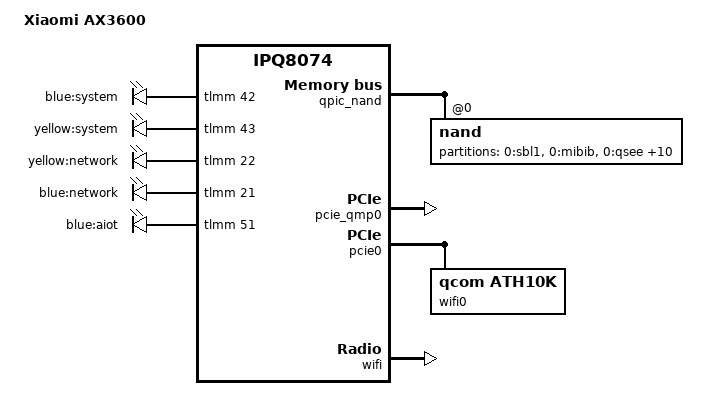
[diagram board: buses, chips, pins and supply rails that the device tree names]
// SPDX-License-Identifier: GPL-2.0-or-later OR MIT
/* Copyright (c) 2021, Robert Marko <robimarko@gmail.com> */

/dts-v1/;

#include "ipq8071-ax3600.dtsi"

/ {
	model = "Xiaomi AX3600";
	compatible = "xiaomi,ax3600", "qcom,ipq8074";

	chosen {
		bootargs-append = " root=/dev/ubiblock0_0";
	};

	leds {
		compatible = "gpio-leds";

		led_system_blue: system-blue {
			label = "blue:system";
			gpios = <&tlmm 42 GPIO_ACTIVE_HIGH>;
		};

		led_system_yellow: system-yellow {
			label = "yellow:system";
			gpios = <&tlmm 43 GPIO_ACTIVE_HIGH>;
		};

		network-yellow {
			label = "yellow:network";
			gpios = <&tlmm 22 GPIO_ACTIVE_HIGH>;
		};

		network-blue {
			label = "blue:network";
			gpios = <&tlmm 21 GPIO_ACTIVE_HIGH>;
		};

		aiot {
			label = "blue:aiot";
			gpios = <&tlmm 51 GPIO_ACTIVE_HIGH>;
			linux,default-trigger = "phy0tpt";
		};
	};
};

&qpic_nand {
	status = "okay";

	/*
	 * Bootloader will find the NAND DT node by the compatible and
	 * then "fixup" it by adding the partitions from the SMEM table
	 * using the legacy bindings thus making it impossible for us
	 * to change the partition table or utilize NVMEM for calibration.
	 * So add a dummy partitions node that bootloader will populate
	 * and set it as disabled so the kernel ignores it instead of
	 * printing warnings due to the broken way bootloader adds the
	 * partitions.
	 */
	partitions {
		status = "disabled";
	};

	nand@0 {
		reg = <0>;
		nand-ecc-strength = <4>;
		nand-ecc-step-size = <512>;
		nand-bus-width = <8>;

		partitions {
			compatible = "fixed-partitions";
			#address-cells = <1>;
			#size-cells = <1>;

			partition@0 {
				label = "0:sbl1";
				reg = <0x0 0x100000>;
				read-only;
			};

			partition@100000 {
				label = "0:mibib";
				reg = <0x100000 0x100000>;
				read-only;
			};

			partition@200000 {
				label = "0:qsee";
				reg = <0x200000 0x300000>;
				read-only;
			};

			partition@500000 {
				label = "0:devcfg";
				reg = <0x500000 0x80000>;
				read-only;
			};

			partition@580000 {
				label = "0:rpm";
				reg = <0x580000 0x80000>;
				read-only;
			};

			partition@600000 {
				label = "0:cdt";
				reg = <0x600000 0x80000>;
				read-only;
			};

			partition@680000 {
				label = "0:appsblenv";
				reg = <0x680000 0x80000>;
			};

			partition@700000 {
				label = "0:appsbl";
				reg = <0x700000 0x100000>;
				read-only;
			};

			partition@800000 {
				label = "0:art";
				reg = <0x800000 0x80000>;
				read-only;
			};

			partition@880000 {
				label = "bdata";
				reg = <0x880000 0x80000>;
				read-only;
			};

			partition@900000 {
				/* This is crash + crash_syslog parts combined */
				label = "pstore";
				reg = <0x900000 0x100000>;
			};

			/* Make the first rootfs a dedicated ubi partition for kernel */
			partition@a00000 {
				label = "kernel";
				reg = <0xa00000 0x23c0000>;
			};

			/* Waste 128KiB to make uboot always fail on loading the 
			 * second rootfs that should be located at 0x2dc0000
			 */
			/* partition@2dc0000 {
				label = "waste_space";
				reg = <0x2dc0000 0x20000>;
			};*/

			/* Place the real rootfs in the original second rootfs and
			 * expand it to the end of the nand
			 */
			partition@2de0000 {
				label = "rootfs";
				reg = <0x2de0000 0xcc20000>;
			};

			/* Original paritions not used as we reworked partition logic
			 * rootfs to the end of the nand.
			 */
			/* partition@a00000 {
				label = "rootfs";
				reg = <0xa00000 0x23c0000>;
			};

			partition@2dc0000 {
				label = "rootfs_1";
				reg = <0x2dc0000 0x23c0000>;
			};

			partition@5180000 {
				label = "overlay";
				reg = <0x5180000 0x1ec0000>;
				read-only;
			};

			partition@7040000 {
				label = "rsvd0";
				reg = <0x7040000 0x80000>;
			}; */
		};
	};
};

&pcie_qmp0 {
	status = "okay";
};

&pcie0 {
	status = "okay";

	perst-gpio = <&tlmm 52 GPIO_ACTIVE_HIGH>;

	bridge@0,0 {
		reg = <0x00000000 0 0 0 0>;
		#address-cells = <3>;
		#size-cells = <2>;
		ranges;

		wifi0: wifi@1,0 {
			status = "okay";

			compatible = "qcom,ath10k";
			reg = <0x00010000 0 0 0 0>;

			qcom,ath10k-calibration-variant = "Xiaomi-AX3600";
		};
	};
};

&wifi {
	qcom,ath11k-calibration-variant = "Xiaomi-AX3600";
};
